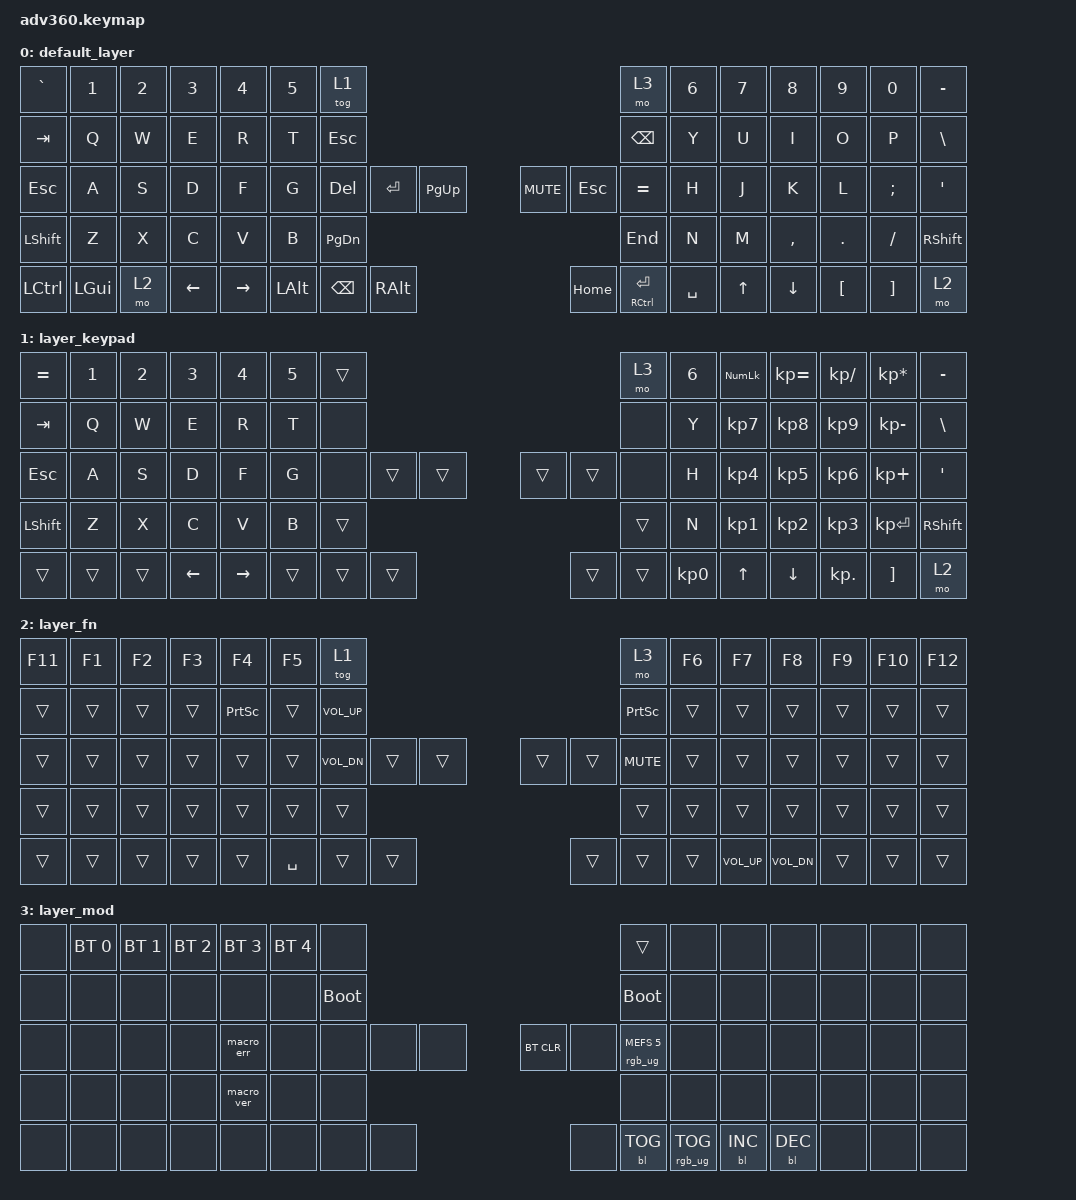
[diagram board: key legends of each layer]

/*
 * Copyright (c) 2020 The ZMK Contributors
 *
 * SPDX-License-Identifier: MIT
 */


/* THIS FILE WAS GENERATED!
 *
 * This file was generated automatically. You may or may not want to
 * edit it directly.
 */

#include <behaviors.dtsi>
#include <dt-bindings/zmk/keys.h>
#include <dt-bindings/zmk/bt.h>
#include <dt-bindings/zmk/rgb.h>
#include <dt-bindings/zmk/backlight.h>

/ {
  behaviors {
    #include "macros.dtsi"
    #include "version.dtsi"

    hm: homerow_mods {
        compatible = "zmk,behavior-hold-tap";
        label = "HOMEROW_MODS";
        #binding-cells = <2>;
        tapping-term-ms = <200>;
        quick_tap_ms = <175>;
        flavor = "tap-preferred";
        bindings = <&kp>, <&kp>;
    };
  };

    keymap {
        compatible = "zmk,keymap";


        default_layer {
            bindings = <
 &kp GRAVE    &kp N1  &kp N2    &kp N3     &kp N4  &kp N5                  &tog 1                                                                                         &mo 3  &kp N6  &kp N7     &kp N8            &kp N9             &kp N0         &kp MINUS
   &kp TAB     &kp Q   &kp W     &kp E      &kp R   &kp T                 &kp ESC                                                                                 &kp BACKSPACE   &kp Y   &kp U      &kp I             &kp O              &kp P          &kp BSLH
   &kp ESC     &kp A   &kp S     &kp D      &kp F   &kp G                 &kp DEL      &kp ENTER  &kp PG_UP                  &kp C_MUTE                  &kp ESC      &kp EQUAL   &kp H   &kp J      &kp K             &kp L           &kp SEMI  &kp SINGLE_QUOTE
 &kp LSHFT     &kp Z   &kp X     &kp C      &kp V   &kp B                                         &kp PG_DN                     &kp END                                           &kp N   &kp M  &kp COMMA           &kp DOT           &kp FSLH         &kp RSHFT
 &kp LCTRL  &kp LGUI   &mo 2  &kp LEFT  &kp RIGHT                    &kp LEFT_ALT  &kp BACKSPACE   &kp RALT                    &kp HOME  &mt RIGHT_CONTROL ENTER      &kp SPACE          &kp UP   &kp DOWN  &kp LEFT_BRACKET  &kp RIGHT_BRACKET             &mo 2
            >;
        };

        layer_keypad {
            bindings = <
 &kp EQUAL  &kp N1  &kp N2    &kp N3     &kp N4  &kp N5            &trans                                                      &mo 3  &kp N6  &kp KP_NUM  &kp KP_EQUAL  &kp KP_DIVIDE  &kp KP_MULTIPLY  &kp MINUS
   &kp TAB   &kp Q   &kp W     &kp E      &kp R   &kp T             &none                                                      &none   &kp Y   &kp KP_N7     &kp KP_N8      &kp KP_N9     &kp KP_MINUS   &kp BSLH
   &kp ESC   &kp A   &kp S     &kp D      &kp F   &kp G             &none  &trans  &trans                  &trans  &trans      &none   &kp H   &kp KP_N4     &kp KP_N5      &kp KP_N6      &kp KP_PLUS    &kp SQT
 &kp LSHFT   &kp Z   &kp X     &kp C      &kp V   &kp B                            &trans                  &trans                      &kp N   &kp KP_N1     &kp KP_N2      &kp KP_N3     &kp KP_ENTER  &kp RSHFT
    &trans  &trans  &trans  &kp LEFT  &kp RIGHT                    &trans  &trans  &trans                  &trans  &trans  &kp KP_N0              &kp UP      &kp DOWN     &kp KP_DOT         &kp RBKT      &mo 2
            >;
        };

        layer_fn {
            bindings = <
 &kp F11  &kp F1  &kp F2  &kp F3           &kp F4  &kp F5                  &tog 1                                                            &mo 3  &kp F6        &kp F7        &kp F8  &kp F9  &kp F10  &kp F12
  &trans  &trans  &trans  &trans  &kp PRINTSCREEN  &trans            &kp C_VOL_UP                                                  &kp PRINTSCREEN  &trans        &trans        &trans  &trans   &trans   &trans
  &trans  &trans  &trans  &trans           &trans  &trans            &kp C_VOL_DN  &trans  &trans                  &trans  &trans       &kp C_MUTE  &trans        &trans        &trans  &trans   &trans   &trans
  &trans  &trans  &trans  &trans           &trans  &trans                                  &trans                  &trans                           &trans        &trans        &trans  &trans   &trans   &trans
  &trans  &trans  &trans  &trans           &trans                       &kp SPACE  &trans  &trans                  &trans  &trans           &trans          &kp C_VOL_UP  &kp C_VOL_DN  &trans   &trans   &trans
            >;
        };

        layer_mod {
            bindings = <
  &none  &bt BT_SEL 0  &bt BT_SEL 1  &bt BT_SEL 2  &bt BT_SEL 3  &bt BT_SEL 4                  &none                                                                          &trans   &none       &none       &none   &none   &none   &none
  &none         &none         &none         &none         &none         &none            &bootloader                                                                     &bootloader   &none       &none       &none   &none   &none   &none
  &none         &none         &none         &none    &macro_err         &none                  &none   &none   &none                  &bt BT_CLR       &none  &rgb_ug RGB_MEFS_CMD 5   &none       &none       &none   &none   &none   &none
  &none         &none         &none         &none    &macro_ver         &none                                  &none                       &none                                       &none       &none       &none   &none   &none   &none
  &none         &none         &none         &none         &none                                &none   &none   &none                       &none  &bl BL_TOG         &rgb_ug RGB_TOG          &bl BL_INC  &bl BL_DEC   &none   &none   &none
            >;
        };

    };
};
